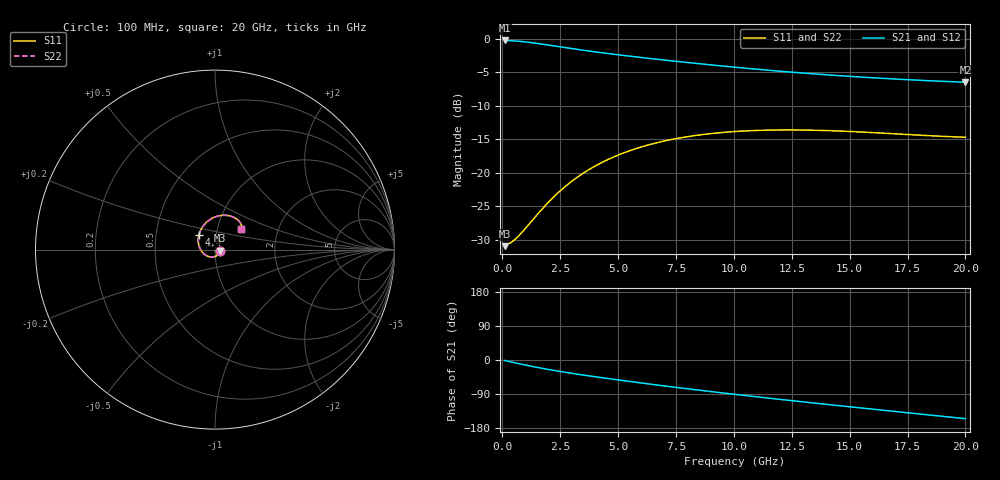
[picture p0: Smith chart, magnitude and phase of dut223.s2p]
! Created with skrf 1.9.0 (http://scikit-rf.org).
# GHz S RI R 50.0
!freq ReS11 ImS11 ReS21 ImS21 ReS12 ImS12 ReS22 ImS22
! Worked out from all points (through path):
!   200 points, 100 MHz to 20 GHz, reference 50 ohm
!   highest |S21| = -0.25 dB at 100 MHz (marker M1); lowest = -6.5 dB at 20 GHz (marker M2)
!   group delay of S21, straight-line fit = 20.4 ps
!   lowest |S11| = -31.0 dB at 100 MHz (marker M3), VSWR 1.06, Z = 52.8 - j0.627 ohm
!   |S11| at or under -10 dB: start of sweep to end of sweep
!   |S22| runs from -31.0 to -13.6 dB; largest |S21 - S12| = 2e-15
!   S11 on the Smith chart (normalised r, x): 100 MHz: 1.06, -0.01; 4.4 GHz: 0.83, +0.14; 20 GHz: 1.30, +0.31
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0.1  0.0276 -0.00593  0.9715 -0.0223  0.9715 -0.0223  0.0276 -0.00593
0.4  0.0235 -0.0191  0.963 -0.0923  0.963 -0.0923  0.0235 -0.0191
0.7  0.014 -0.0306  0.9463 -0.1583  0.9463 -0.1583  0.014 -0.0306
1.2  -0.00971 -0.041  0.9034 -0.2569  0.9034 -0.2569  -0.00971 -0.041
1.7  -0.0365 -0.0385  0.8486 -0.3391  0.8486 -0.3391  -0.0365 -0.0385
2.1  -0.0561 -0.0284  0.8007 -0.3935  0.8007 -0.3935  -0.0561 -0.0284
2.6  -0.0753 -0.00854  0.7395 -0.4495  0.7395 -0.4495  -0.0753 -0.00854
3  -0.0856 0.0108  0.6908 -0.4865  0.6908 -0.4865  -0.0856 0.0108
3.5  -0.0923 0.0367  0.6312 -0.525  0.6312 -0.525  -0.0923 0.0367
4.4  -0.0894 0.0825  0.5278 -0.5777  0.5278 -0.5777  -0.0894 0.0825
4.9  -0.0814 0.1053  0.4724 -0.5994  0.4724 -0.5994  -0.0814 0.1053
5.5  -0.0676 0.1293  0.4077 -0.6195  0.4077 -0.6195  -0.0676 0.1293
6.8  -0.0285 0.167  0.2746 -0.6434  0.2746 -0.6434  -0.0285 0.167
7.6  -0.00194 0.1809  0.198 -0.6464  0.198 -0.6464  -0.00194 0.1809
8.4  0.0242 0.1887  0.1259 -0.6418  0.1259 -0.6418  0.0242 0.1887
10.1  0.0736 0.1895  -0.0113 -0.612  -0.0113 -0.612  0.0736 0.1895
11.7  0.1086 0.1777  -0.1201 -0.5656  -0.1201 -0.5656  0.1086 0.1777
13.4  0.1328 0.1596  -0.2158 -0.5036  -0.2158 -0.5036  0.1328 0.1596
15  0.145 0.1424  -0.2891 -0.4372  -0.2891 -0.4372  0.145 0.1424
16.7  0.1495 0.1273  -0.351 -0.3609  -0.351 -0.3609  0.1495 0.1273
18.3  0.1483 0.1179  -0.3954 -0.2849  -0.3954 -0.2849  0.1483 0.1179
20  0.1445 0.1138  -0.4284 -0.2011  -0.4284 -0.2011  0.1445 0.1138
